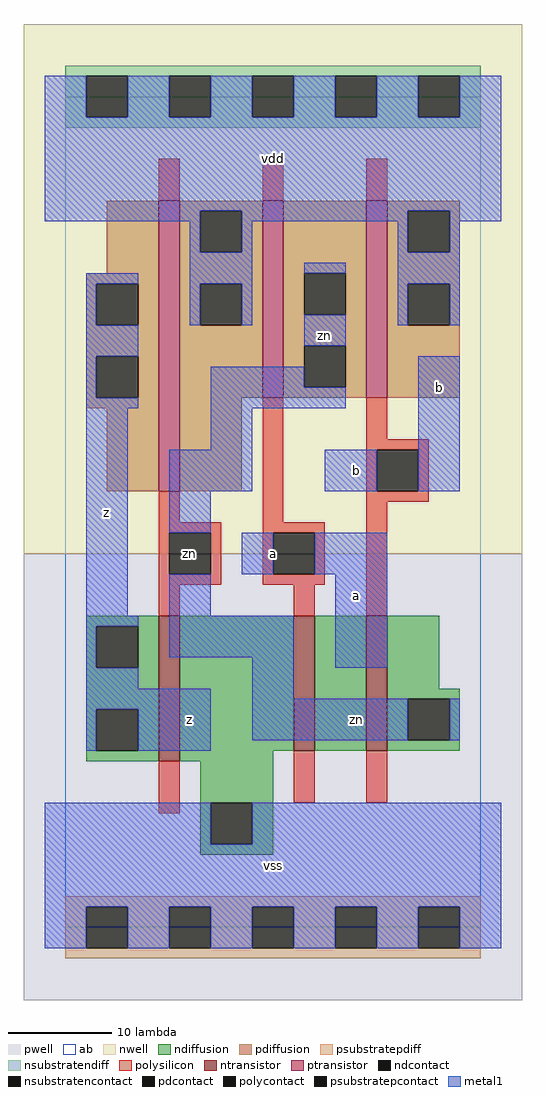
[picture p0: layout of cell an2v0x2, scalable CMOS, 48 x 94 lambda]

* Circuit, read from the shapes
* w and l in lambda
.subckt an2v0x2 a b vdd vss z zn
M1 vss zn z vss nfet w=14 l=2
M2 n1 a vss vss nfet w=13 l=2
M3 zn b n1 vss nfet w=13 l=2
M4 vdd zn z vdd pfet w=28 l=2
M5 zn a vdd vdd pfet w=19 l=2
M6 vdd b zn vdd pfet w=19 l=2
.ends

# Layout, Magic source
magic
tech scmos
<< ab >>
rect 0 0 40 80
<< pwell >>
rect -4 -7 44 36
<< nwell >>
rect -4 36 44 87
<< polysilicon >>
rect 9 70 11 74
rect 19 70 21 74
rect 29 70 31 74
rect 9 39 11 42
rect 19 39 21 51
rect 29 47 31 51
rect 29 46 35 47
rect 29 42 30 46
rect 34 42 35 46
rect 29 41 35 42
rect 9 38 15 39
rect 9 34 10 38
rect 14 34 15 38
rect 9 33 15 34
rect 19 38 25 39
rect 19 34 20 38
rect 24 34 25 38
rect 19 33 25 34
rect 9 30 11 33
rect 22 30 24 33
rect 29 30 31 41
rect 9 11 11 16
rect 22 12 24 17
rect 29 12 31 17
<< ndiffusion >>
rect 2 29 9 30
rect 2 25 3 29
rect 7 25 9 29
rect 2 21 9 25
rect 2 17 3 21
rect 7 17 9 21
rect 2 16 9 17
rect 11 17 22 30
rect 24 17 29 30
rect 31 23 36 30
rect 31 22 38 23
rect 31 18 33 22
rect 37 18 38 22
rect 31 17 38 18
rect 11 16 20 17
rect 13 12 20 16
rect 13 8 14 12
rect 18 8 20 12
rect 13 7 20 8
<< pdiffusion >>
rect 4 63 9 70
rect 2 62 9 63
rect 2 58 3 62
rect 7 58 9 62
rect 2 55 9 58
rect 2 51 3 55
rect 7 51 9 55
rect 2 50 9 51
rect 4 42 9 50
rect 11 69 19 70
rect 11 65 13 69
rect 17 65 19 69
rect 11 62 19 65
rect 11 58 13 62
rect 17 58 19 62
rect 11 51 19 58
rect 21 63 29 70
rect 21 59 23 63
rect 27 59 29 63
rect 21 56 29 59
rect 21 52 23 56
rect 27 52 29 56
rect 21 51 29 52
rect 31 69 38 70
rect 31 65 33 69
rect 37 65 38 69
rect 31 62 38 65
rect 31 58 33 62
rect 37 58 38 62
rect 31 51 38 58
rect 11 42 17 51
<< metal1 >>
rect -2 78 2 82
rect 6 78 10 82
rect 14 78 18 82
rect 22 78 26 82
rect 30 78 34 82
rect 38 78 42 82
rect -2 69 42 78
rect -2 68 13 69
rect 12 65 13 68
rect 17 68 33 69
rect 17 65 18 68
rect 2 62 7 63
rect 2 58 3 62
rect 12 62 18 65
rect 32 65 33 68
rect 37 68 42 69
rect 37 65 38 68
rect 12 58 13 62
rect 17 58 18 62
rect 23 63 27 64
rect 2 55 7 58
rect 2 51 3 55
rect 23 56 27 59
rect 32 62 38 65
rect 32 58 33 62
rect 37 58 38 62
rect 2 50 7 51
rect 14 52 23 54
rect 14 50 27 52
rect 2 30 6 50
rect 14 46 18 50
rect 10 42 18 46
rect 25 42 30 46
rect 34 42 38 55
rect 10 38 14 42
rect 17 34 20 38
rect 24 34 31 38
rect 10 30 14 34
rect 2 29 7 30
rect 2 25 3 29
rect 10 26 22 30
rect 2 23 7 25
rect 2 21 14 23
rect 2 17 3 21
rect 7 17 14 21
rect 18 22 22 26
rect 26 25 31 34
rect 18 18 33 22
rect 37 18 38 22
rect -2 8 14 12
rect 18 8 42 12
rect -2 2 42 8
rect -2 -2 2 2
rect 6 -2 10 2
rect 14 -2 18 2
rect 22 -2 26 2
rect 30 -2 34 2
rect 38 -2 42 2
<< ntransistor >>
rect 9 16 11 30
rect 22 17 24 30
rect 29 17 31 30
<< ptransistor >>
rect 9 42 11 70
rect 19 51 21 70
rect 29 51 31 70
<< polycontact >>
rect 30 42 34 46
rect 10 34 14 38
rect 20 34 24 38
<< ndcontact >>
rect 3 25 7 29
rect 3 17 7 21
rect 33 18 37 22
rect 14 8 18 12
<< pdcontact >>
rect 3 58 7 62
rect 3 51 7 55
rect 13 65 17 69
rect 13 58 17 62
rect 23 59 27 63
rect 23 52 27 56
rect 33 65 37 69
rect 33 58 37 62
<< psubstratepcontact >>
rect 2 -2 6 2
rect 10 -2 14 2
rect 18 -2 22 2
rect 26 -2 30 2
rect 34 -2 38 2
<< nsubstratencontact >>
rect 2 78 6 82
rect 10 78 14 82
rect 18 78 22 82
rect 26 78 30 82
rect 34 78 38 82
<< psubstratepdiff >>
rect 0 2 40 3
rect 0 -2 2 2
rect 6 -2 10 2
rect 14 -2 18 2
rect 22 -2 26 2
rect 30 -2 34 2
rect 38 -2 40 2
rect 0 -3 40 -2
<< nsubstratendiff >>
rect 0 82 40 83
rect 0 78 2 82
rect 6 78 10 82
rect 14 78 18 82
rect 22 78 26 82
rect 30 78 34 82
rect 38 78 40 82
rect 0 77 40 78
<< labels >>
rlabel polycontact 12 36 12 36 6 zn
rlabel metal1 4 40 4 40 6 z
rlabel metal1 12 20 12 20 6 z
rlabel polycontact 12 36 12 36 6 zn
rlabel metal1 20 6 20 6 6 vss
rlabel metal1 20 36 20 36 6 a
rlabel metal1 28 32 28 32 6 a
rlabel metal1 28 44 28 44 6 b
rlabel metal1 25 57 25 57 6 zn
rlabel metal1 20 74 20 74 6 vdd
rlabel metal1 28 20 28 20 6 zn
rlabel metal1 36 52 36 52 6 b
<< end >>
